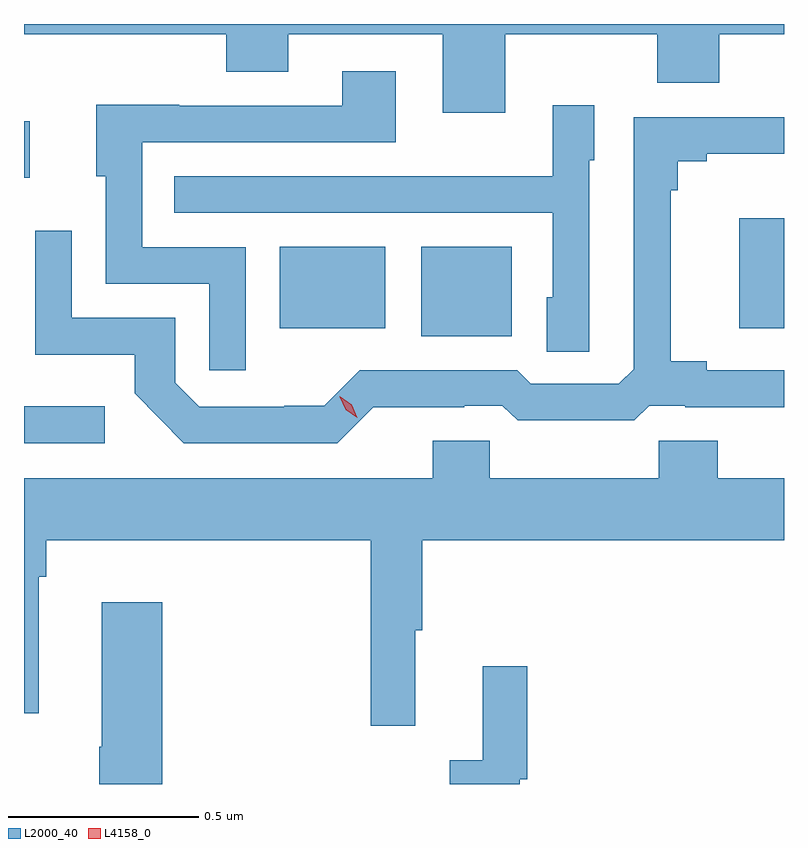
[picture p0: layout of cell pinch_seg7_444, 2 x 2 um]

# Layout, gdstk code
import gdstk
lib = gdstk.Library(unit=1e-6, precision=1e-09)
def R(c, l, rs):  # rectangles x0, y0, x1, y1
    for r in rs: c.add(gdstk.rectangle(r[:2], r[2:], *l))
def P(c, l, *ps):  # polygons
    for p in ps: c.add(gdstk.Polygon(p, *l))
L2000_40 = (2000, 40)
L4158_0 = (4158, 0)

pinch_seg7_444 = lib.new_cell('pinch_seg7_444')
R(pinch_seg7_444, L2000_40, [(330.523,1047.492,330.736,1047.589), (331.568,1047.773,331.807,1048.009), (331.196,1047.794,331.474,1048.009), (332.405,1047.794,332.523,1048.084), (330.523,1048.19,330.538,1048.339)])
P(pinch_seg7_444, L2000_40, [(331.789,1048.568),(332.189,1048.568),(332.189,1048.44),(332.353,1048.44),(332.353,1048.568),(332.523,1048.568),(332.523,1048.595),(330.523,1048.595),(330.523,1048.568),(331.055,1048.568),(331.055,1048.469),(331.219,1048.469),(331.219,1048.568),(331.625,1048.568),(331.625,1048.362),(331.789,1048.362)],
  [(331.107,1048.008),(330.834,1048.008),(330.834,1048.284),(331.501,1048.284),(331.501,1048.471),(331.361,1048.471),(331.361,1048.38),(330.931,1048.38),(330.931,1048.382),(330.713,1048.382),(330.713,1048.194),(330.738,1048.194),(330.738,1047.912),(331.011,1047.912),(331.011,1047.684),(331.107,1047.684)],
  [(332.01,1048.236),(332.023,1048.236),(332.023,1048.381),(331.914,1048.381),(331.914,1048.195),(331.597,1048.195),(331.597,1048.194),(330.919,1048.194),(330.919,1048.098),(331.914,1048.098),(331.914,1047.876),(331.898,1047.876),(331.898,1047.733),(332.01,1047.733)],
  [(331.442,1047.587),(331.682,1047.587),(331.682,1047.591),(331.782,1047.591),(331.822,1047.552),(332.129,1047.552),(332.169,1047.591),(332.263,1047.591),(332.263,1047.587),(332.523,1047.587),(332.523,1047.684),(332.32,1047.684),(332.32,1047.707),(332.225,1047.707),(332.225,1048.157),(332.243,1048.157),(332.243,1048.234),(332.32,1048.234),(332.32,1048.253),(332.523,1048.253),(332.523,1048.35),(332.127,1048.35),(332.127,1047.687),(332.088,1047.648),(331.857,1047.648),(331.821,1047.684),(331.407,1047.684),(331.313,1047.59),(331.208,1047.59),(331.208,1047.588),(330.984,1047.588),(330.921,1047.651),(330.921,1047.822),(330.648,1047.822),(330.648,1048.051),(330.552,1048.051),(330.552,1047.725),(330.814,1047.725),(330.814,1047.623),(330.944,1047.492),(331.347,1047.492)],
  [(331.553,1047),(331.571,1047),(331.571,1047.236),(332.523,1047.236),(332.523,1047.4),(332.349,1047.4),(332.349,1047.498),(332.194,1047.498),(332.194,1047.4),(331.749,1047.4),(331.749,1047.498),(331.598,1047.498),(331.598,1047.4),(330.523,1047.4),(330.523,1046.781),(330.562,1046.781),(330.562,1047.14),(330.581,1047.14),(330.581,1047.236),(331.435,1047.236),(331.435,1046.748),(331.553,1046.748)],
  [(330.887,1047.073),(330.728,1047.073),(330.728,1046.693),(330.721,1046.693),(330.721,1046.595),(330.887,1046.595)],
  [(331.827,1046.608),(331.847,1046.608),(331.847,1046.905),(331.73,1046.905),(331.73,1046.657),(331.644,1046.657),(331.644,1046.595),(331.827,1046.595)])
P(pinch_seg7_444, L4158_0, [(331.4,1047.559),(331.37,1047.58),(331.354,1047.614),(331.354,1047.615),(331.354,1047.615),(331.385,1047.593),(331.4,1047.559),(331.4,1047.559)])

lib.write_gds('pinch_seg7_444.gds')
